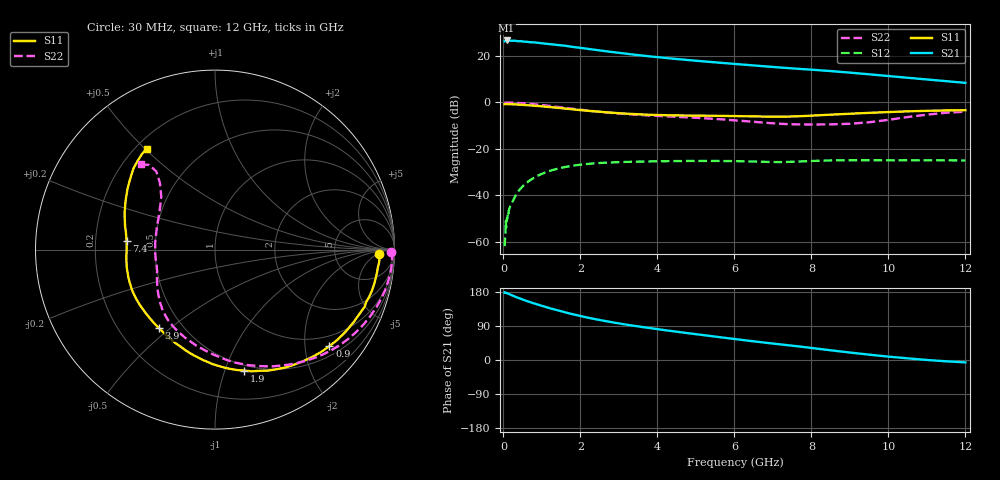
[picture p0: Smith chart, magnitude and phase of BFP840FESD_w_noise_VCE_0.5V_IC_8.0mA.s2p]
! (c) 2012  Infineon Technologies AG, Munich
! Infineon Technologies  Discrete & RF Semiconductors
! BFP840FESD
! VCE =  0.5 V,  IC =  8.0 mA
! Common Emitter S-Parameters:  May 2012
# GHz  S  MA  R  50
!  f  S11  S21  S12  S22
! GHz  MAG  ANG  MAG  ANG  MAG  ANG  MAG  ANG
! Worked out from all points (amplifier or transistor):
!   103 points, 30 MHz to 12 GHz, reference 50 ohm
!   highest |S21| = 26.7 dB at 80 MHz (marker M1)
!   |S21| within 3 dB of that: start of sweep to 1.909 GHz
!   unconditionally stable (mu >= 1): 6.671 GHz to end of sweep
!   at 400 MHz: K = 0.06, MSG = 32.2 dB, |S12| = -38.0 dB
!   at 3.7 GHz: K = 0.48, MSG = 22.7 dB, |S12| = -25.4 dB
!   at 12 GHz: K = 1.31, MAG = 13.4 dB, |S12| = -25.0 dB
!   lowest NFmin = 0.61 dB at 450 MHz
!   S11 on the Smith chart (normalised r, x): 30 MHz: 20, -6; 900 MHz: 0.72, -2.55; 1.9 GHz: 0.45, -1.17; 3.9 GHz: 0.37, -0.46; 7.4 GHz: 0.34, +0.04; 12 GHz: 0.24, +0.51
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0.03  0.9115 -1.5  20.7 177.6  0.0008 104.1  0.9817 -0.7
0.04  0.9137 -2.0  20.94 177.2  0.0011 79.2  0.9844 -1.1
0.05  0.9145 -2.4  21.26 178.3  0.0014 101.0  0.9856 -1.5
0.08  0.9177 -3.9  21.54 176.8  0.0024 92.1  0.9881 -2.8
0.45  0.8929 -20.8  20.9 161.5  0.014 76.6  0.9621 -17.5
0.5  0.8822 -23.6  20.42 159.5  0.0156 75.6  0.9556 -19.5
0.9  0.834 -40.2  19.15 146.0  0.0265 64.5  0.893 -34.0
1.2  0.792 -51.8  17.96 136.8  0.0333 57.0  0.838 -44.2
1.4  0.7658 -58.9  17.26 131.4  0.0371 52.7  0.7998 -50.7
1.6  0.7358 -66.4  16.61 125.9  0.0405 48.1  0.7621 -57.2
1.9  0.6938 -76.3  15.28 118.5  0.0445 42.5  0.7103 -66.3
2.1  0.6703 -82.7  14.56 113.7  0.0464 39.1  0.6798 -71.9
2.4  0.6387 -91.1  13.48 107.4  0.0488 34.5  0.6407 -79.7
2.9  0.5924 -103.9  11.93 98.2  0.0513 28.6  0.5846 -91.0
3.9  0.537 -125.7  9.598 82.9  0.0538 20.5  0.5167 -109.2
4.1  0.5321 -129.6  9.246 80.1  0.0542 19.4  0.5067 -112.4
5.1  0.5173 -148.0  7.752 66.8  0.0548 14.2  0.4608 -126.8
6.1  0.5045 -164.2  6.634 54.2  0.0542 10.5  0.4052 -141.0
7.4  0.4951 174.5  5.468 38.9  0.0523 11.6  0.3398 -162.4
8.5  0.5436 158.0  4.722 25.6  0.0562 10.8  0.3358 173.4
10.5  0.6407 135.2  3.389 4.4  0.0567 8.0  0.4828 129.5
12  0.6784 124.1  2.63 -6.3  0.056 9.5  0.6307 131.1
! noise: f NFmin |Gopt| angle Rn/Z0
0.45  0.61  0.39  5  0.15
0.9  0.64  0.38  12  0.15
1.5  0.65  0.35  17  0.14
1.9  0.66  0.31  26  0.15
2.4  0.68  0.3  34  0.15
3.5  0.7  0.28  55  0.15
5.5  0.76  0.19  96  0.12
8  0.89  0.16  156  0.12
10  1.03  0.24  -142  0.12
12  1.25  0.41  -119  0.13
